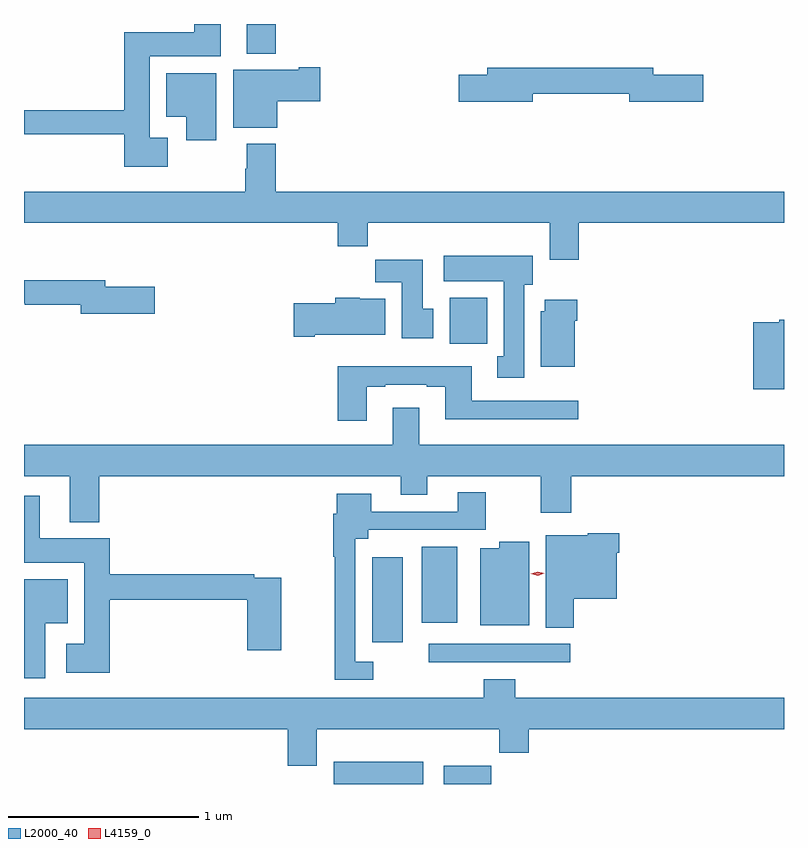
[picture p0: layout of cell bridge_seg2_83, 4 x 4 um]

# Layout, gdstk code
import gdstk
lib = gdstk.Library(unit=1e-6, precision=1e-09)
def R(c, l, rs):  # rectangles x0, y0, x1, y1
    for r in rs: c.add(gdstk.rectangle(r[:2], r[2:], *l))
def P(c, l, *ps):  # polygons
    for p in ps: c.add(gdstk.Polygon(p, *l))
L2000_40 = (2000, 40)
L4159_0 = (4159, 0)

bridge_seg2_83 = lib.new_cell('bridge_seg2_83')
R(bridge_seg2_83, L2000_40, [(358.706,661.999,359.176,662.116), (359.285,661.999,359.534,662.095), (359.205,662.64,359.95,662.736), (358.907,662.745,359.068,663.193), (359.168,662.849,359.356,663.247), (359.315,664.316,359.512,664.558), (358.247,665.843,358.4,665.999)])
P(bridge_seg2_83, L2000_40, [(357.832,665.401),(357.736,665.401),(357.736,665.828),(358.111,665.828),(358.111,665.999),(357.971,665.999),(357.971,665.956),(357.602,665.956),(357.602,665.546),(357.075,665.546),(357.075,665.418),(357.602,665.418),(357.602,665.249),(357.832,665.249)],
  [(358.408,665.593),(358.633,665.593),(358.633,665.771),(358.52,665.771),(358.52,665.758),(358.175,665.758),(358.175,665.453),(358.408,665.453)],
  [(359.752,665.632),(360.26,665.632),(360.26,665.59),(360.649,665.59),(360.649,665.732),(360.388,665.732),(360.388,665.768),(359.513,665.768),(359.513,665.732),(359.364,665.732),(359.364,665.59),(359.752,665.59)],
  [(358.087,665.74),(357.824,665.74),(357.824,665.51),(357.929,665.51),(357.929,665.388),(358.087,665.388)],
  [(359.996,664.952),(361.075,664.952),(361.075,665.116),(358.4,665.116),(358.4,665.368),(358.247,665.368),(358.247,665.237),(358.24,665.237),(358.24,665.116),(357.075,665.116),(357.075,664.952),(358.727,664.952),(358.727,664.828),(358.883,664.828),(358.883,664.952),(359.843,664.952),(359.843,664.758),(359.996,664.758)],
  [(359.707,664.626),(359.752,664.626),(359.752,664.78),(359.283,664.78),(359.283,664.646),(359.6,664.646),(359.6,664.25),(359.567,664.25),(359.567,664.137),(359.707,664.137)],
  [(359.23,664.5),(359.173,664.5),(359.173,664.759),(358.924,664.759),(358.924,664.64),(359.063,664.64),(359.063,664.344),(359.23,664.344)],
  [(357.763,664.617),(357.502,664.617),(357.502,664.651),(357.076,664.651),(357.076,664.638),(357.075,664.638),(357.075,664.53),(357.078,664.53),(357.078,664.522),(357.374,664.522),(357.374,664.475),(357.763,664.475)],
  [(358.606,664.364),(358.975,664.364),(358.975,664.552),(358.842,664.552),(358.842,664.558),(358.712,664.558),(358.712,664.53),(358.494,664.53),(358.494,664.352),(358.606,664.352)],
  [(359.974,664.436),(359.987,664.436),(359.987,664.549),(359.816,664.549),(359.816,664.488),(359.795,664.488),(359.795,664.196),(359.974,664.196)],
  [(361.075,664.442),(361.05,664.442),(361.05,664.429),(360.914,664.429),(360.914,664.077),(361.075,664.077)],
  [(358.879,664.089),(358.975,664.089),(358.975,664.101),(359.195,664.101),(359.195,664.089),(359.291,664.089),(359.291,663.92),(359.992,663.92),(359.992,664.017),(359.431,664.017),(359.431,664.198),(358.727,664.198),(358.727,663.912),(358.879,663.912)],
  [(357.47,663.62),(359.057,663.62),(359.057,663.521),(359.197,663.521),(359.197,663.62),(359.794,663.62),(359.794,663.426),(359.954,663.426),(359.954,663.62),(361.075,663.62),(361.075,663.784),(359.155,663.784),(359.155,663.979),(359.015,663.979),(359.015,663.784),(357.075,663.784),(357.075,663.62),(357.317,663.62),(357.317,663.377),(357.47,663.377)],
  [(358.912,662.643),(358.818,662.643),(358.818,663.29),(358.888,663.29),(358.888,663.336),(359.505,663.336),(359.505,663.535),(359.357,663.535),(359.357,663.432),(358.903,663.432),(358.903,663.526),(358.721,663.526),(358.721,663.422),(358.702,663.422),(358.702,663.194),(358.71,663.194),(358.71,662.547),(358.912,662.547)],
  [(357.527,662.968),(358.25,662.968),(358.25,662.703),(358.428,662.703),(358.428,663.084),(358.286,663.084),(358.286,663.104),(357.527,663.104),(357.527,663.292),(357.157,663.292),(357.157,663.517),(357.075,663.517),(357.075,663.164),(357.392,663.164),(357.392,662.737),(357.297,662.737),(357.297,662.585),(357.527,662.585)],
  [(359.969,662.975),(360.196,662.975),(360.196,663.215),(360.209,663.215),(360.209,663.319),(360.042,663.319),(360.042,663.307),(359.822,663.307),(359.822,662.821),(359.969,662.821)],
  [(359.734,663.274),(359.576,663.274),(359.576,663.241),(359.477,663.241),(359.477,662.834),(359.734,662.834)],
  [(357.187,662.846),(357.304,662.846),(357.304,663.076),(357.075,663.076),(357.075,662.556),(357.187,662.556)],
  [(358.615,662.288),(359.575,662.288),(359.575,662.164),(359.732,662.164),(359.732,662.288),(361.075,662.288),(361.075,662.452),(359.66,662.452),(359.66,662.551),(359.495,662.551),(359.495,662.452),(357.075,662.452),(357.075,662.288),(358.463,662.288),(358.463,662.094),(358.615,662.094)])
P(bridge_seg2_83, L4159_0, [(359.778,663.096),(359.742,663.106),(359.742,663.106),(359.742,663.106),(359.778,663.116),(359.814,663.107),(359.814,663.107),(359.814,663.107)])

lib.write_gds('bridge_seg2_83.gds')
